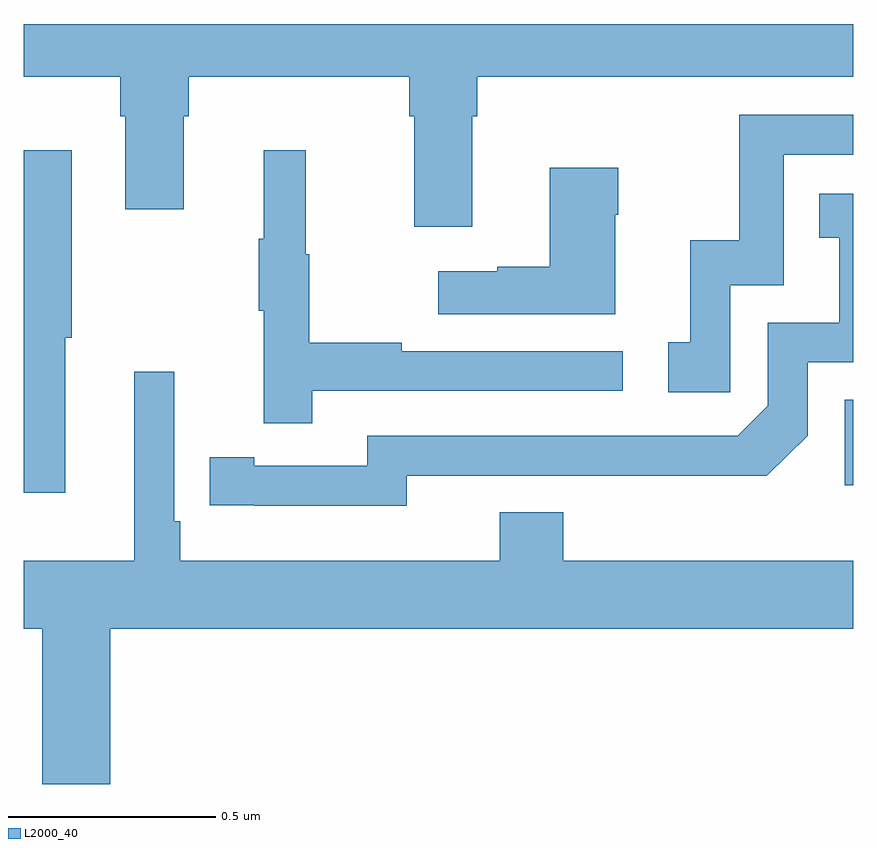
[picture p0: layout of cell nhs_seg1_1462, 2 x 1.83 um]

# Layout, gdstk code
import gdstk
lib = gdstk.Library(unit=1e-6, precision=1e-09)
def R(c, l, rs):  # rectangles x0, y0, x1, y1
    for r in rs: c.add(gdstk.rectangle(r[:2], r[2:], *l))
def P(c, l, *ps):  # polygons
    for p in ps: c.add(gdstk.Polygon(p, *l))
L2000_40 = (2000, 40)

nhs_seg1_1462 = lib.new_cell('nhs_seg1_1462')
R(nhs_seg1_1462, L2000_40, [(130.98,544.086,131,544.293)])
P(nhs_seg1_1462, L2000_40, [(130.081,544.976),(130.094,544.976),(130.094,545.072),(131,545.072),(131,545.199),(129,545.199),(129,545.072),(129.233,545.072),(129.233,544.976),(129.245,544.976),(129.245,544.752),(129.385,544.752),(129.385,544.976),(129.398,544.976),(129.398,545.072),(129.929,545.072),(129.929,544.976),(129.941,544.976),(129.941,544.71),(130.081,544.71)],
  [(130.704,544.569),(130.833,544.569),(130.833,544.884),(131,544.884),(131,544.98),(130.725,544.98),(130.725,544.678),(130.607,544.678),(130.607,544.431),(130.554,544.431),(130.554,544.311),(130.704,544.311)],
  [(129.1,544.442),(129.115,544.442),(129.115,544.894),(129,544.894),(129,544.068),(129.1,544.068)],
  [(129.695,544.314),(130.444,544.314),(130.444,544.41),(129.911,544.41),(129.911,544.43),(129.688,544.43),(129.688,544.644),(129.68,544.644),(129.68,544.894),(129.578,544.894),(129.578,544.681),(129.567,544.681),(129.567,544.507),(129.578,544.507),(129.578,544.236),(129.695,544.236)],
  [(130.426,544.739),(130.434,544.739),(130.434,544.852),(130.268,544.852),(130.268,544.613),(130.142,544.613),(130.142,544.603),(129.999,544.603),(129.999,544.499),(130.426,544.499)],
  [(129.924,544.11),(130.384,544.11),(130.384,544.109),(130.792,544.109),(130.89,544.206),(130.89,544.383),(131,544.383),(131,544.789),(130.918,544.789),(130.918,544.683),(130.967,544.683),(130.967,544.479),(130.794,544.479),(130.794,544.278),(130.722,544.206),(129.828,544.206),(129.828,544.134),(129.556,544.134),(129.556,544.154),(129.448,544.154),(129.448,544.038),(129.556,544.038),(129.556,544.037),(129.924,544.037)],
  [(129.208,543.74),(131,543.74),(131,543.904),(130.301,543.904),(130.301,544.021),(130.148,544.021),(130.148,543.904),(129.377,543.904),(129.377,544),(129.363,544),(129.363,544.36),(129.266,544.36),(129.266,543.904),(129,543.904),(129,543.74),(129.044,543.74),(129.044,543.366),(129.208,543.366)])

lib.write_gds('nhs_seg1_1462.gds')
